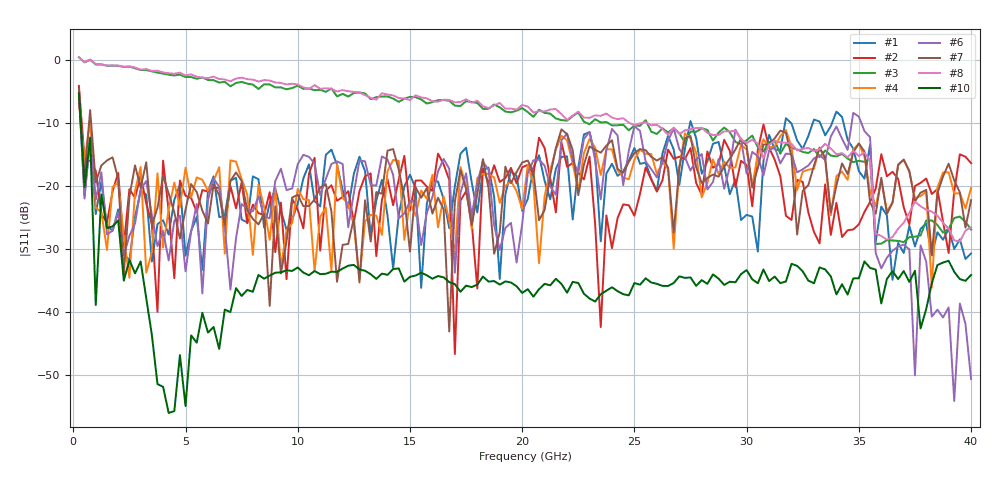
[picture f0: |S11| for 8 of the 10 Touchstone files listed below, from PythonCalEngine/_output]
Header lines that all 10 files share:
!Created with skrf (http://scikit-rf.org).
# GHz S RI R 50.0
!freq ReS11 ImS11
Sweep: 250 MHz to 40 GHz
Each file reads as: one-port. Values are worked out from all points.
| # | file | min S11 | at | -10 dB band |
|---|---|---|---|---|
| 1 | fwd_ed.s1p | -36.2 dB | 15.5 GHz | 27.16 GHz wide |
| 2 | fwd_el.s1p | -46.7 dB | 17 GHz | over 39.62 GHz wide |
| 3 | fwd_ert.s1p | -29.2 dB | 35.75 GHz | over 14.44 GHz wide |
| 4 | fwd_es.s1p | -36.2 dB | 38.25 GHz | over 39.24 GHz wide |
| 5 | fwd_ett.s1p | -28.9 dB | 36.25 GHz | over 14.47 GHz wide |
| 6 | rev_ed.s1p | -54.2 dB | 39.25 GHz | 34.36 GHz wide |
| 7 | rev_el.s1p | -43.2 dB | 16.75 GHz | over 39.21 GHz wide |
| 8 | rev_ert.s1p | -28.9 dB | 39.5 GHz | over 14.45 GHz wide |
| 9 | rev_es.s1p | -56.4 dB | 14.25 GHz | over 39.25 GHz wide |
| 10 | solved_m.s1p | -56.1 dB | 4.25 GHz | over 39.67 GHz wide |
